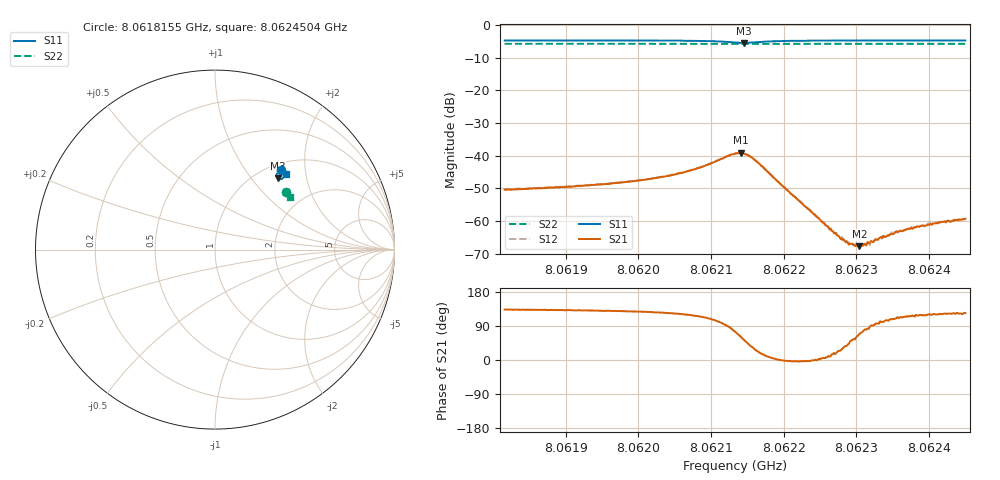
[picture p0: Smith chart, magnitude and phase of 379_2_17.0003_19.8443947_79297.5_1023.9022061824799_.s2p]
#  HZ  S  RI  R  50.00
! Rohde & Schwarz Vector Network Analyzer
! Rohde-Schwarz,ZNB20-2Port,1311601062101988,3.16
! Created: UTC 3/20/2024, 11:09:04 PM
! freq[Hz]  re:S11  im:S11  re:S21  im:S21  re:S12  im:S12  re:S22  im:S22
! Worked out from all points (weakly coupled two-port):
!   401 points, 8.0618155 GHz to 8.0624504 GHz, reference 50 ohm
!   highest |S21| = -39.11 dB at 8.0621409 GHz (marker M1); lowest = -67.6 dB at 8.0623044 GHz (marker M2)
!   lowest |S11| = -5.5 dB at 8.0621457 GHz (marker M3), VSWR 3.25, Z = 61.8 + j68.3 ohm
!   |S11| at or under -10 dB: nowhere
!   |S22| runs from -5.9 to -5.8 dB; largest |S21 - S12| = 0.00074
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8.06181553e9  0.3652 0.4455  -0.00207 0.00222  -0.00192 0.0024  0.3982 0.3228
8.06192187e9  0.3725 0.439  -0.00228 0.00263  -0.00212 0.00273  0.4021 0.3176
8.061979e9  0.3767 0.4346  -0.00245 0.00307  -0.00225 0.00323  0.4042 0.3146
8.0620282e9  0.381 0.4293  -0.00271 0.0038  -0.00251 0.00399  0.406 0.312
8.06208058e9  0.3855 0.4183  -0.00281 0.00572  -0.00251 0.00594  0.408 0.309
8.06213296e9  0.366 0.3922  0.00273 0.0104  0.00347 0.0103  0.4084 0.3055
8.06214089e9  0.355 0.394  0.00524 0.00976  0.00586 0.00936  0.4082 0.3055
8.06214565e9  0.3489 0.3979  0.00655 0.0085  0.00702 0.00816  0.4083 0.3054
8.06215359e9  0.343 0.4078  0.00762 0.00603  0.0081 0.00568  0.4084 0.3056
8.06216152e9  0.3426 0.4182  0.00756 0.00364  0.00781 0.00333  0.4086 0.3058
8.06223929e9  0.3723 0.4346  0.00136 -1.94e-05  0.00138 -0.000108  0.4129 0.3023
8.06227103e9  0.3777 0.4325  0.000643 0.000179  0.00063 0.000135  0.4142 0.3006
8.06228214e9  0.3789 0.4317  0.000453 0.000281  0.000433 0.000269  0.4146 0.3
8.06228849e9  0.3797 0.4313  0.00035 0.000306  0.000381 0.000264  0.4149 0.2997
8.06229484e9  0.3804 0.4309  0.000269 0.000362  0.000301 0.00031  0.4152 0.2993
8.06230436e9  0.3815 0.4304  0.00015 0.000387  0.000192 0.000374  0.4155 0.2989
8.06231547e9  0.3825 0.4296  5.87e-05 0.000474  8.4e-05 0.000462  0.4159 0.2983
8.06234563e9  0.3853 0.4276  -0.000176 0.000594  -0.000124 0.000598  0.417 0.2968
8.06235674e9  0.3861 0.4271  -0.000273 0.000643  -0.000168 0.000647  0.4174 0.2961
8.06239324e9  0.3889 0.4248  -0.000403 0.000752  -0.000377 0.000747  0.4185 0.2942
8.06240118e9  0.3896 0.4244  -0.000452 0.000759  -0.00041 0.000857  0.4189 0.2937
8.06245038e9  0.3929 0.4215  -0.000606 0.000905  -0.000542 0.000922  0.4206 0.2912
